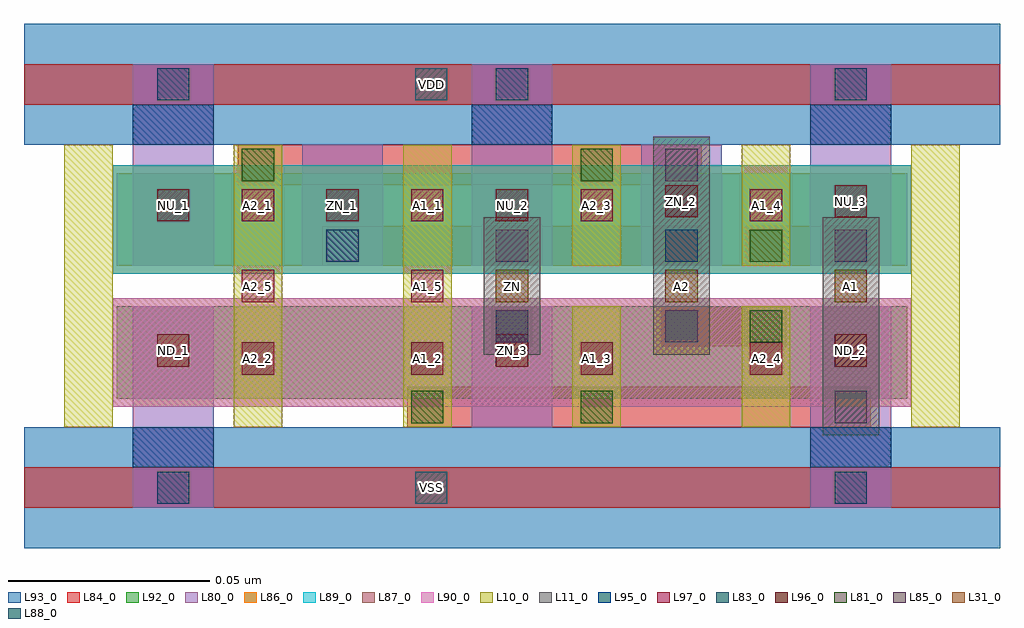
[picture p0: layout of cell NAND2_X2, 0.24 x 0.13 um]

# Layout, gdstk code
import gdstk
lib = gdstk.Library(unit=1e-6, precision=1e-09)
def R(c, l, rs):  # rectangles x0, y0, x1, y1
    for r in rs: c.add(gdstk.rectangle(r[:2], r[2:], *l))
def A(c, l, x, y, w, h, nx, ny, dx, dy):  # array of equal rectangles
    R(c, l, [(x+i*dx, y+j*dy, x+i*dx+w, y+j*dy+h) for i in range(nx) for j in range(ny)])
L10_0 = (10, 0)
L11_0 = (11, 0)
L31_0 = (31, 0)
L80_0 = (80, 0)
L81_0 = (81, 0)
L83_0 = (83, 0)
L84_0 = (84, 0)
L85_0 = (85, 0)
L86_0 = (86, 0)
L87_0 = (87, 0)
L88_0 = (88, 0)
L89_0 = (89, 0)
L90_0 = (90, 0)
L92_0 = (92, 0)
L93_0 = (93, 0)
L95_0 = (95, 0)
L96_0 = (96, 0)
L97_0 = (97, 0)

nand2_x2 = lib.new_cell('NAND2_X2')
A(nand2_x2, L10_0, -0.027, 0.015, 0.012, 0.07, 3, 1, 0.042, 0)
R(nand2_x2, L10_0, [(0.099,0.015,0.111,0.045), (0.141,0.015,0.153,0.045), (0.183,0.015,0.195,0.085), (0.099,0.055,0.111,0.085), (0.141,0.055,0.153,0.085)])
A(nand2_x2, L11_0, 0.077, 0.033, 0.014, 0.034, 3, 1, 0.042, 0)
R(nand2_x2, L11_0, [(0.161,0.013,0.175,0.047), (0.119,0.053,0.133,0.087)])
A(nand2_x2, L31_0, 0.08, 0.046, 0.008, 0.008, 3, 1, 0.042, 0)
A(nand2_x2, L80_0, -0.01, 0.015, 0.02, 0.03, 3, 2, 0.084, 0.06)
A(nand2_x2, L80_0, -0.01, 0.055, 0.02, 0.03, 5, 1, 0.042, 0)
R(nand2_x2, L80_0, [(-0.01,-0.005,0.01,0.025), (0.158,-0.005,0.178,0.025)])
R(nand2_x2, L81_0, [(0.059,0.016,0.067,0.024), (0.101,0.016,0.109,0.024), (0.143,0.036,0.151,0.044), (0.143,0.056,0.151,0.064), (0.017,0.076,0.025,0.084), (0.101,0.076,0.109,0.084)])
A(nand2_x2, L83_0, -0.004, 0.096, 0.008, 0.008, 3, 1, 0.084, 0)
R(nand2_x2, L83_0, [(-0.004,-0.004,0.004,0.004), (0.164,-0.004,0.172,0.004), (0.08,0.036,0.088,0.044), (0.038,0.056,0.046,0.064), (0.122,0.056,0.13,0.064)])
A(nand2_x2, L84_0, 0.058, 0.015, 0.031, 0.01, 5, 1, 0.021, 0)
A(nand2_x2, L84_0, 0.037, 0.055, 0.031, 0.01, 4, 1, 0.021, 0)
A(nand2_x2, L84_0, 0.016, 0.075, 0.031, 0.01, 5, 1, 0.021, 0)
R(nand2_x2, L84_0, [(-0.037,-0.005,0.205,0.005), (0.079,0.035,0.089,0.045), (0.121,0.035,0.152,0.045), (0.142,0.055,0.173,0.065), (-0.037,0.095,0.205,0.105)])
R(nand2_x2, L85_0, [(0.164,0.016,0.172,0.024), (0.08,0.036,0.088,0.044), (0.122,0.036,0.13,0.044), (0.08,0.056,0.088,0.064), (0.164,0.056,0.172,0.064), (0.122,0.076,0.13,0.084)])
R(nand2_x2, L86_0, [(-0.015,0.053,0.183,0.08)])
R(nand2_x2, L87_0, [(-0.015,0.02,0.183,0.047)])
R(nand2_x2, L88_0, [(0.06,-0.004,0.068,0.004), (0.06,0.096,0.068,0.104)])
R(nand2_x2, L89_0, [(-0.015,0.053,0.183,0.08)])
R(nand2_x2, L90_0, [(-0.015,0.02,0.183,0.047)])
R(nand2_x2, L92_0, [(-0.014,0.022,0.182,0.045), (-0.014,0.055,0.182,0.078)])
R(nand2_x2, L93_0, [(-0.037,-0.015,0.205,0.015), (-0.037,0.085,0.205,0.115)])
A(nand2_x2, L95_0, -0.01, 0.085, 0.02, 0.01, 3, 1, 0.084, 0)
R(nand2_x2, L95_0, [(-0.01,0.005,0.01,0.015), (0.158,0.005,0.178,0.015)])
A(nand2_x2, L96_0, -0.004, 0.03, 0.008, 0.008, 3, 1, 0.084, 0)
A(nand2_x2, L96_0, -0.004, 0.066, 0.008, 0.008, 3, 1, 0.042, 0)
R(nand2_x2, L96_0, [(0.122,0.067,0.13,0.075), (0.164,0.067,0.172,0.075)])
A(nand2_x2, L97_0, 0.017, 0.028, 0.008, 0.008, 4, 2, 0.042, 0.038)
R(nand2_x2, L97_0, [(0.017,0.046,0.025,0.054), (0.059,0.046,0.067,0.054)])
nand2_x2.add(gdstk.Label('A1', (0.168,0.05), layer=31, texttype=0))
nand2_x2.add(gdstk.Label('A2', (0.126,0.05), layer=31, texttype=0))
nand2_x2.add(gdstk.Label('ZN', (0.084,0.05), layer=31, texttype=0))
nand2_x2.add(gdstk.Label('A1_4', (0.147,0.07), layer=97, texttype=0))
nand2_x2.add(gdstk.Label('A2_4', (0.147,0.032), layer=97, texttype=0))
nand2_x2.add(gdstk.Label('A1_3', (0.105,0.032), layer=97, texttype=0))
nand2_x2.add(gdstk.Label('A2_3', (0.105,0.07), layer=97, texttype=0))
nand2_x2.add(gdstk.Label('A1_1', (0.063,0.07), layer=97, texttype=0))
nand2_x2.add(gdstk.Label('A2_2', (0.021,0.032), layer=97, texttype=0))
nand2_x2.add(gdstk.Label('A2_5', (0.021,0.05), layer=97, texttype=0))
nand2_x2.add(gdstk.Label('A1_2', (0.063,0.032), layer=97, texttype=0))
nand2_x2.add(gdstk.Label('A1_5', (0.063,0.05), layer=97, texttype=0))
nand2_x2.add(gdstk.Label('A2_1', (0.021,0.07), layer=97, texttype=0))
nand2_x2.add(gdstk.Label('ZN_2', (0.126,0.071), layer=96, texttype=0))
nand2_x2.add(gdstk.Label('NU_3', (0.168,0.071), layer=96, texttype=0))
nand2_x2.add(gdstk.Label('NU_1', (0,0.07), layer=96, texttype=0))
nand2_x2.add(gdstk.Label('ZN_1', (0.042,0.07), layer=96, texttype=0))
nand2_x2.add(gdstk.Label('NU_2', (0.084,0.07), layer=96, texttype=0))
nand2_x2.add(gdstk.Label('ZN_3', (0.084,0.034), layer=96, texttype=0))
nand2_x2.add(gdstk.Label('ND_2', (0.168,0.034), layer=96, texttype=0))
nand2_x2.add(gdstk.Label('ND_1', (0,0.034), layer=96, texttype=0))
nand2_x2.add(gdstk.Label('VDD', (0.064,0.1), layer=88, texttype=0))
nand2_x2.add(gdstk.Label('VSS', (0.064,0), layer=88, texttype=0))

lib.write_gds('NAND2_X2.gds')
